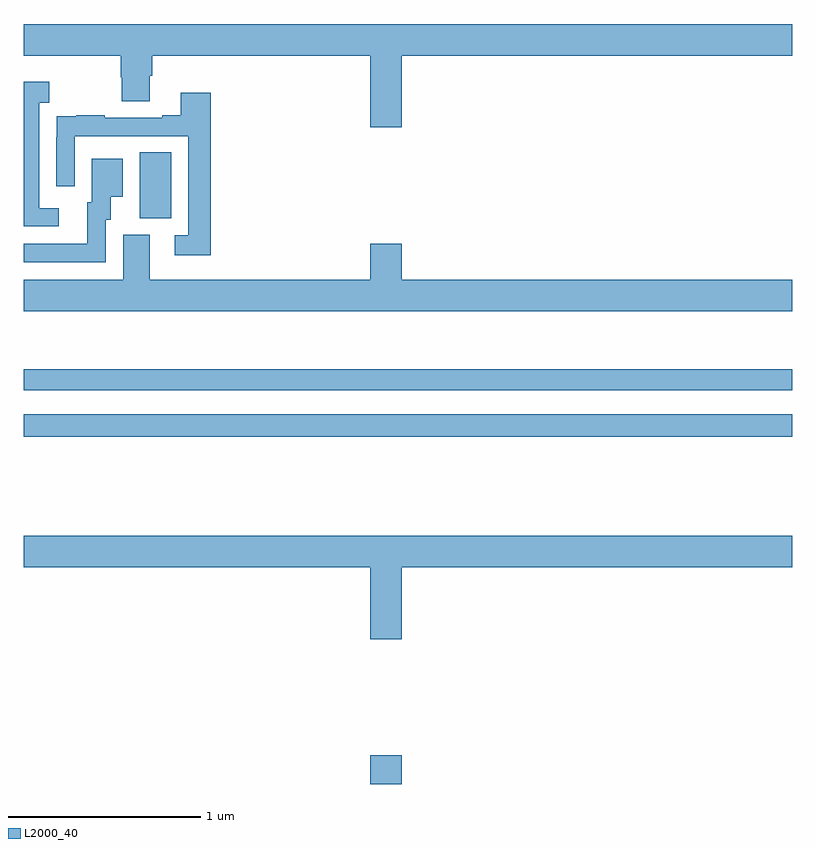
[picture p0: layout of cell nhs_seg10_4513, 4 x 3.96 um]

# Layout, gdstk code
import gdstk
lib = gdstk.Library(unit=1e-6, precision=1e-09)
def R(c, l, rs):  # rectangles x0, y0, x1, y1
    for r in rs: c.add(gdstk.rectangle(r[:2], r[2:], *l))
def P(c, l, *ps):  # polygons
    for p in ps: c.add(gdstk.Polygon(p, *l))
L2000_40 = (2000, 40)

nhs_seg10_4513 = lib.new_cell('nhs_seg10_4513')
R(nhs_seg10_4513, L2000_40, [(368.804,1320.5,368.968,1320.649), (367,1322.308,371,1322.424), (367,1322.55,371,1322.659), (367.604,1323.445,367.768,1323.788)])
P(nhs_seg10_4513, L2000_40, [(368.968,1324.292),(371,1324.292),(371,1324.456),(367,1324.456),(367,1324.292),(367.505,1324.292),(367.505,1324.179),(367.51,1324.179),(367.51,1324.054),(367.657,1324.054),(367.657,1324.186),(367.67,1324.186),(367.67,1324.292),(368.804,1324.292),(368.804,1323.918),(368.968,1323.918)],
  [(367.183,1323.498),(367.08,1323.498),(367.08,1324.046),(367.132,1324.046),(367.132,1324.156),(367,1324.156),(367,1323.402),(367.183,1323.402)],
  [(367.973,1324.099),(367.817,1324.099),(367.817,1323.982),(367.721,1323.982),(367.721,1323.969),(367.421,1323.969),(367.421,1323.982),(367.273,1323.982),(367.273,1323.975),(367.171,1323.975),(367.171,1323.866),(367.17,1323.866),(367.17,1323.612),(367.266,1323.612),(367.266,1323.873),(367.857,1323.873),(367.857,1323.357),(367.785,1323.357),(367.785,1323.252),(367.973,1323.252)],
  [(367.428,1323.438),(367.453,1323.438),(367.453,1323.557),(367.516,1323.557),(367.516,1323.754),(367.355,1323.754),(367.355,1323.528),(367.331,1323.528),(367.331,1323.312),(367,1323.312),(367,1323.216),(367.428,1323.216)],
  [(371,1323.124),(368.968,1323.124),(368.968,1323.313),(368.804,1323.313),(368.804,1323.124),(367.657,1323.124),(367.657,1323.36),(367.517,1323.36),(367.517,1323.124),(367,1323.124),(367,1322.96),(371,1322.96)],
  [(368.968,1321.628),(371,1321.628),(371,1321.792),(367,1321.792),(367,1321.628),(368.804,1321.628),(368.804,1321.254),(368.968,1321.254)])

lib.write_gds('nhs_seg10_4513.gds')
